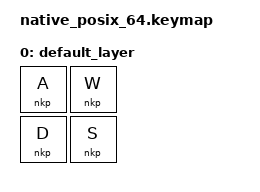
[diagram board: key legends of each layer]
#include <dt-bindings/zmk/keys.h>
#include <behaviors.dtsi>
#include <dt-bindings/zmk/kscan_mock.h>

/*
 * Press and release in sequence WASD, then DSAW.
 * Non-overlap keys that remain pressed should be re-pressed in the correct order.
 */

&nkp {
    keep-active-size = <4>;
};

/ {
    keymap {
        compatible = "zmk,keymap";

        default_layer {
            bindings = <
                &nkp A &nkp W
                &nkp D &nkp S>;
        };
    };
};

&kscan {
    events = <
        ZMK_MOCK_PRESS(0,1,10)   // W
        ZMK_MOCK_PRESS(0,0,10)   // A
        ZMK_MOCK_PRESS(1,1,10)   // S
        ZMK_MOCK_PRESS(1,0,10)   // D
        ZMK_MOCK_RELEASE(1,0,10) // D
        ZMK_MOCK_RELEASE(1,1,10) // S
        ZMK_MOCK_RELEASE(0,0,10) // A
        ZMK_MOCK_RELEASE(0,1,10) // W
    >;
};
